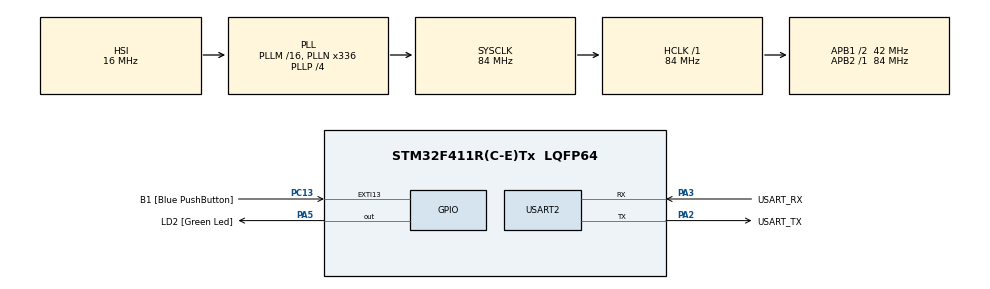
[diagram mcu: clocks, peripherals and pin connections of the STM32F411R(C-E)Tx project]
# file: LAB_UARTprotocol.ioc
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Mcu.Family=STM32F4
PC15-OSC32_OUT.Mode=LSE-External-Oscillator
RCC.CortexFreq_Value=84000000
PC13-ANTI_TAMP.GPIO_Label=B1 [Blue PushButton]
PA14.GPIO_Label=TCK
PH1\ -\ OSC_OUT.Mode=HSE-External-Clock-Source
Dma.USART2_RX.0.Direction=DMA_PERIPH_TO_MEMORY
RCC.APB1CLKDivider=RCC_HCLK_DIV2
PC14-OSC32_IN.Signal=RCC_OSC32_IN
NVIC.USART2_IRQn=true\:0\:0\:false\:false\:true\:true\:true
RCC.SYSCLKSource=RCC_SYSCLKSOURCE_PLLCLK
ProjectManager.StackSize=0x400
Dma.USART2_RX.0.Mode=DMA_CIRCULAR
PA13.Signal=SYS_JTMS-SWDIO
PA3.Mode=Asynchronous
PH0\ -\ OSC_IN.Mode=HSE-External-Clock-Source
PH0\ -\ OSC_IN.Signal=RCC_OSC_IN
ProjectManager.TargetToolchain=STM32CubeIDE
NVIC.DMA1_Stream5_IRQn=true\:0\:0\:false\:false\:true\:false\:true
Dma.USART2_RX.0.Priority=DMA_PRIORITY_LOW
Dma.USART2_RX.0.PeriphDataAlignment=DMA_PDATAALIGN_BYTE
RCC.HCLKFreq_Value=84000000
RCC.APB2TimFreq_Value=84000000
PC15-OSC32_OUT.Signal=RCC_OSC32_OUT
RCC.AHBFreq_Value=84000000
PA5.Signal=GPIO_Output
RCC.HSE_VALUE=8000000
PH1\ -\ OSC_OUT.Signal=RCC_OSC_OUT
board=NUCLEO-F411RE
PC13-ANTI_TAMP.Signal=GPXTI13
RCC.VCOOutputFreq_Value=336000000
RCC.APB2Freq_Value=84000000
Dma.USART2_RX.0.MemDataAlignment=DMA_MDATAALIGN_BYTE
PC14-OSC32_IN.Mode=LSE-External-Oscillator
PA14.Mode=Serial_Wire
Dma.USART2_RX.0.Instance=DMA1_Stream5
PA13.Mode=Serial_Wire
Mcu.Name=STM32F411R(C-E)Tx
Dma.USART2_RX.0.MemInc=DMA_MINC_ENABLE
PA2.Signal=USART2_TX
PA13.GPIO_Label=TMS
RCC.FLatency-AdvancedSettings=FLASH_LATENCY_2
RCC.48MHZClocksFreq_Value=84000000
PB3.Signal=SYS_JTDO-SWO
RCC.SYSCLKFreq_VALUE=84000000
Mcu.Package=LQFP64
PA5.GPIO_Label=LD2 [Green Led]
Dma.USART2_RX.0.PeriphInc=DMA_PINC_DISABLE
USART2.VirtualMode=VM_ASYNC
Dma.USART2_RX.0.FIFOMode=DMA_FIFOMODE_DISABLE
PC13-ANTI_TAMP.GPIO_ModeDefaultEXTI=GPIO_MODE_IT_FALLING
PA2.GPIO_Label=USART_TX
PA14.Signal=SYS_JTCK-SWCLK
ProjectManager.HeapSize=0x200
RCC.HSI_VALUE=16000000
RCC.PLLP=RCC_PLLP_DIV4
NVIC.PriorityGroup=NVIC_PRIORITYGROUP_0
RCC.PLLN=336
RCC.APB1TimFreq_Value=84000000
PA2.Mode=Asynchronous
Dma.Request0=USART2_RX
RCC.APB1Freq_Value=42000000
PA3.GPIO_Label=USART_RX
PA3.Signal=USART2_RX
PB3.GPIO_Label=SWO

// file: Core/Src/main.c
/* USER CODE BEGIN Header */
/**
  ******************************************************************************
  * @file           : main.c
  * @brief          : Main program body
  ******************************************************************************
  * @attention
  *
  * <h2><center>&copy; Copyright (c) 2021 STMicroelectronics.
  * All rights reserved.</center></h2>
  *
  * This software component is licensed by ST under BSD 3-Clause license,
  * the "License"; You may not use this file except in compliance with the
  * License. You may obtain a copy of the License at:
  *                        opensource.org/licenses/BSD-3-Clause
  *
  ******************************************************************************
  */
/* USER CODE END Header */
#include "main.h"

/* USER CODE BEGIN Includes */
#include "stdio.h"
#include "string.h"
/* USER CODE END Includes */

UART_HandleTypeDef huart2;
DMA_HandleTypeDef hdma_usart2_rx;

/* USER CODE BEGIN PV */
uint8_t RxBuffer[255]={0};
uint8_t Posdata=0;
uint8_t Posdatapre=0;
void pim(char q[]);
uint8_t TxDataBuffer[255]={0};
uint8_t state=0;
uint16_t lenght=0;
uint8_t i=0;
uint8_t numberofparameter=0;
uint8_t tempo[255]={0};

uint8_t mainmemory[255]={0};
uint16_t crcReceive=0;

unsigned short update_crc(unsigned short crc_accum, unsigned char *data_blk_ptr,unsigned short data_blk_size);
uint16_t realcrc=0;
uint8_t forcheckcrc[32]={0};

uint8_t lenghtL=0;
uint8_t lenghtH=0;
uint16_t position=0;

/* USER CODE END PV */

void SystemClock_Config(void);
static void MX_GPIO_Init(void);
static void MX_DMA_Init(void);
static void MX_USART2_UART_Init(void);

int main(void)
{

  /* MCU Configuration--------------------------------------------------------*/

  /* Reset of all peripherals, Initializes the Flash interface and the Systick. */
  HAL_Init();

  /* Configure the system clock */
  SystemClock_Config();

  /* Initialize all configured peripherals */
  MX_GPIO_Init();
  MX_DMA_Init();
  MX_USART2_UART_Init();
  /* USER CODE BEGIN 2 */

  HAL_UART_Receive_DMA(&huart2, RxBuffer, 32);
  /* USER CODE END 2 */

  /* Infinite loop */
  /* USER CODE BEGIN WHILE */
  while (1)
  {
	  Posdata=huart2.RxXferSize-huart2.hdmarx->Instance->NDTR;
	  if(Posdata!=Posdatapre ){
//		  sprintf(TxDataBuffer, "\r\nReceivedChar:[%c]", RxBuffer[Posdatapre] );
//		  HAL_UART_Transmit(&huart2, (uint8_t*)TxDataBuffer, strlen(TxDataBuffer),500);
		  switch(state){
			  case 0:
				  if(RxBuffer[Posdatapre]==0xFF){
					  i=0;
					  state=1;
				  }else{
					  state=0;
				  }
			  break;
			  case 1:
				  if(RxBuffer[Posdatapre]==0xFF){
					  state=2;
				  }else{
					  state=0;
				  }
			  break;
			  case 2:
				  if(RxBuffer[Posdatapre]==0xFD){
					  state=3;
				  }else{
					  state=0;
				  }
			  break;
			  case 3:
				  if(RxBuffer[Posdatapre]==0x00){
					  state=4;
				  }else{
					  state=0;
				  }
			  break;
			  case 4://check motor id
				  if(RxBuffer[Posdatapre]==0x01){
					  state=5;
				  }else{
					  state=0;
				  }
			  break;
			  case 5://lenght Land H
				  i=i+1;
				  if(i==1){
					  lenght=RxBuffer[Posdatapre];
					  lenghtL=RxBuffer[Posdatapre];
					  state=5;
				  }else if(i==2){
					  lenghtH=RxBuffer[Posdatapre];
					  lenght=lenght |  RxBuffer[Posdatapre]<<8;
					  numberofparameter=lenght-3;
					  i=0;
					  state=6;
				  }
			  break;
			  case 6://instuction
				  if(RxBuffer[Posdatapre]==0x03){
					  state=7;
				  }else{
					  state=0;
				  }
			  break;
			  case 7:
				  numberofparameter=numberofparameter-1;
				  tempo[i]=RxBuffer[Posdatapre];
				  i=i+1;
				  if(numberofparameter==0){
					  i=0;
					  state=8;
				  }
			  break;
			  case 8://savecrc L and H
				  i=i+1;
				  if(i==1){
					  crcReceive=RxBuffer[Posdatapre];
					  state=8;
				  }else if(i==2){
					  crcReceive=crcReceive |  RxBuffer[Posdatapre]<<8;
					  forcheckcrc[0]=0xFF;
					  forcheckcrc[1]=0xFF;
					  forcheckcrc[2]=0xFD;
					  forcheckcrc[3]=0x00;
					  forcheckcrc[4]=0x01;
					  forcheckcrc[5]=lenghtL;
					  forcheckcrc[6]=lenghtH;
					  forcheckcrc[7]=0x03;
					  i=8;
					  for( int p=0; p<(lenght-3);p++){
						  forcheckcrc[i]=tempo[p];
						  i=i+1;
					  }
					  realcrc=update_crc(0, &forcheckcrc[0], (7+lenght-2));
					  if(realcrc==crcReceive){
						  position=tempo[0];
						  position=position | tempo[1]<<8;
						  for(int p=0;p<(lenght-3-2);p++){
							  mainmemory[(position+p)%255]=tempo[2+p];
						  }

						  state=0;
					  }else{
						  state=0;
					  }

				  }
			  break;

		  }

		  Posdatapre=(Posdatapre+1)%32;
	  }

    /* USER CODE END WHILE */

  }
}

void SystemClock_Config(void)
{
  RCC_OscInitTypeDef RCC_OscInitStruct = {0};
  RCC_ClkInitTypeDef RCC_ClkInitStruct = {0};

  /** Configure the main internal regulator output voltage
  */
  __HAL_RCC_PWR_CLK_ENABLE();
  __HAL_PWR_VOLTAGESCALING_CONFIG(PWR_REGULATOR_VOLTAGE_SCALE1);
  /** Initializes the RCC Oscillators according to the specified parameters
  * in the RCC_OscInitTypeDef structure.
  */
  RCC_OscInitStruct.OscillatorType = RCC_OSCILLATORTYPE_HSI;
  RCC_OscInitStruct.HSIState = RCC_HSI_ON;
  RCC_OscInitStruct.HSICalibrationValue = RCC_HSICALIBRATION_DEFAULT;
  RCC_OscInitStruct.PLL.PLLState = RCC_PLL_ON;
  RCC_OscInitStruct.PLL.PLLSource = RCC_PLLSOURCE_HSI;
  RCC_OscInitStruct.PLL.PLLM = 16;
  RCC_OscInitStruct.PLL.PLLN = 336;
  RCC_OscInitStruct.PLL.PLLP = RCC_PLLP_DIV4;
  RCC_OscInitStruct.PLL.PLLQ = 4;
  if (HAL_RCC_OscConfig(&RCC_OscInitStruct) != HAL_OK)
  {
    Error_Handler();
  }
  /** Initializes the CPU, AHB and APB buses clocks
  */
  RCC_ClkInitStruct.ClockType = RCC_CLOCKTYPE_HCLK|RCC_CLOCKTYPE_SYSCLK
                              |RCC_CLOCKTYPE_PCLK1|RCC_CLOCKTYPE_PCLK2;
  RCC_ClkInitStruct.SYSCLKSource = RCC_SYSCLKSOURCE_PLLCLK;
  RCC_ClkInitStruct.AHBCLKDivider = RCC_SYSCLK_DIV1;
  RCC_ClkInitStruct.APB1CLKDivider = RCC_HCLK_DIV2;
  RCC_ClkInitStruct.APB2CLKDivider = RCC_HCLK_DIV1;

  if (HAL_RCC_ClockConfig(&RCC_ClkInitStruct, FLASH_LATENCY_2) != HAL_OK)
  {
    Error_Handler();
  }
}

static void MX_USART2_UART_Init(void)
{

  huart2.Instance = USART2;
  huart2.Init.BaudRate = 115200;
  huart2.Init.WordLength = UART_WORDLENGTH_8B;
  huart2.Init.StopBits = UART_STOPBITS_1;
  huart2.Init.Parity = UART_PARITY_NONE;
  huart2.Init.Mode = UART_MODE_TX_RX;
  huart2.Init.HwFlowCtl = UART_HWCONTROL_NONE;
  huart2.Init.OverSampling = UART_OVERSAMPLING_16;
  if (HAL_UART_Init(&huart2) != HAL_OK)
  {
    Error_Handler();
  }

}

static void MX_DMA_Init(void)
{

  /* DMA controller clock enable */
  __HAL_RCC_DMA1_CLK_ENABLE();

  /* DMA interrupt init */
  /* DMA1_Stream5_IRQn interrupt configuration */
  HAL_NVIC_SetPriority(DMA1_Stream5_IRQn, 0, 0);
  HAL_NVIC_EnableIRQ(DMA1_Stream5_IRQn);

}

static void MX_GPIO_Init(void)
{
  GPIO_InitTypeDef GPIO_InitStruct = {0};

  /* GPIO Ports Clock Enable */
  __HAL_RCC_GPIOC_CLK_ENABLE();
  __HAL_RCC_GPIOH_CLK_ENABLE();
  __HAL_RCC_GPIOA_CLK_ENABLE();
  __HAL_RCC_GPIOB_CLK_ENABLE();

  /*Configure GPIO pin Output Level */
  HAL_GPIO_WritePin(LD2_GPIO_Port, LD2_Pin, GPIO_PIN_RESET);

  /*Configure GPIO pin : B1_Pin */
  GPIO_InitStruct.Pin = B1_Pin;
  GPIO_InitStruct.Mode = GPIO_MODE_IT_FALLING;
  GPIO_InitStruct.Pull = GPIO_NOPULL;
  HAL_GPIO_Init(B1_GPIO_Port, &GPIO_InitStruct);

  /*Configure GPIO pin : LD2_Pin */
  GPIO_InitStruct.Pin = LD2_Pin;
  GPIO_InitStruct.Mode = GPIO_MODE_OUTPUT_PP;
  GPIO_InitStruct.Pull = GPIO_NOPULL;
  GPIO_InitStruct.Speed = GPIO_SPEED_FREQ_LOW;
  HAL_GPIO_Init(LD2_GPIO_Port, &GPIO_InitStruct);

}

/* USER CODE BEGIN 4 */
void pim(char q[]){

	HAL_UART_Transmit(&huart2, (uint8_t*)q, strlen(q),1000);
}

unsigned short update_crc(unsigned short crc_accum, unsigned char *data_blk_ptr,unsigned short data_blk_size)
{
	unsigned short i, j;
	unsigned short crc_table[256] =
	{ 0x0000, 0x8005, 0x800F, 0x000A, 0x801B, 0x001E, 0x0014, 0x8011, 0x8033,
			0x0036, 0x003C, 0x8039, 0x0028, 0x802D, 0x8027, 0x0022, 0x8063,
			0x0066, 0x006C, 0x8069, 0x0078, 0x807D, 0x8077, 0x0072, 0x0050,
			0x8055, 0x805F, 0x005A, 0x804B, 0x004E, 0x0044, 0x8041, 0x80C3,
			0x00C6, 0x00CC, 0x80C9, 0x00D8, 0x80DD, 0x80D7, 0x00D2, 0x00F0,
			0x80F5, 0x80FF, 0x00FA, 0x80EB, 0x00EE, 0x00E4, 0x80E1, 0x00A0,
			0x80A5, 0x80AF, 0x00AA, 0x80BB, 0x00BE, 0x00B4, 0x80B1, 0x8093,
			0x0096, 0x009C, 0x8099, 0x0088, 0x808D, 0x8087, 0x0082, 0x8183,
			0x0186, 0x018C, 0x8189, 0x0198, 0x819D, 0x8197, 0x0192, 0x01B0,
			0x81B5, 0x81BF, 0x01BA, 0x81AB, 0x01AE, 0x01A4, 0x81A1, 0x01E0,
			0x81E5, 0x81EF, 0x01EA, 0x81FB, 0x01FE, 0x01F4, 0x81F1, 0x81D3,
			0x01D6, 0x01DC, 0x81D9, 0x01C8, 0x81CD, 0x81C7, 0x01C2, 0x0140,
			0x8145, 0x814F, 0x014A, 0x815B, 0x015E, 0x0154, 0x8151, 0x8173,
			0x0176, 0x017C, 0x8179, 0x0168, 0x816D, 0x8167, 0x0162, 0x8123,
			0x0126, 0x012C, 0x8129, 0x0138, 0x813D, 0x8137, 0x0132, 0x0110,
			0x8115, 0x811F, 0x011A, 0x810B, 0x010E, 0x0104, 0x8101, 0x8303,
			0x0306, 0x030C, 0x8309, 0x0318, 0x831D, 0x8317, 0x0312, 0x0330,
			0x8335, 0x833F, 0x033A, 0x832B, 0x032E, 0x0324, 0x8321, 0x0360,
			0x8365, 0x836F, 0x036A, 0x837B, 0x037E, 0x0374, 0x8371, 0x8353,
			0x0356, 0x035C, 0x8359, 0x0348, 0x834D, 0x8347, 0x0342, 0x03C0,
			0x83C5, 0x83CF, 0x03CA, 0x83DB, 0x03DE, 0x03D4, 0x83D1, 0x83F3,
			0x03F6, 0x03FC, 0x83F9, 0x03E8, 0x83ED, 0x83E7, 0x03E2, 0x83A3,
			0x03A6, 0x03AC, 0x83A9, 0x03B8, 0x83BD, 0x83B7, 0x03B2, 0x0390,
			0x8395, 0x839F, 0x039A, 0x838B, 0x038E, 0x0384, 0x8381, 0x0280,
			0x8285, 0x828F, 0x028A, 0x829B, 0x029E, 0x0294, 0x8291, 0x82B3,
			0x02B6, 0x02BC, 0x82B9, 0x02A8, 0x82AD, 0x82A7, 0x02A2, 0x82E3,
			0x02E6, 0x02EC, 0x82E9, 0x02F8, 0x82FD, 0x82F7, 0x02F2, 0x02D0,
			0x82D5, 0x82DF, 0x02DA, 0x82CB, 0x02CE, 0x02C4, 0x82C1, 0x8243,
			0x0246, 0x024C, 0x8249, 0x0258, 0x825D, 0x8257, 0x0252, 0x0270,
			0x8275, 0x827F, 0x027A, 0x826B, 0x026E, 0x0264, 0x8261, 0x0220,
			0x8225, 0x822F, 0x022A, 0x823B, 0x023E, 0x0234, 0x8231, 0x8213,
			0x0216, 0x021C, 0x8219, 0x0208, 0x820D, 0x8207, 0x0202 };

	for (j = 0; j < data_blk_size; j++)
	{
		i = ((unsigned short) (crc_accum >> 8) ^ data_blk_ptr[j]) & 0xFF;
		crc_accum = (crc_accum << 8) ^ crc_table[i];
	}

	return crc_accum;
}
/* USER CODE END 4 */

void Error_Handler(void)
{
  __disable_irq();
  while (1)
  {
  }
}

/************************ (C) COPYRIGHT STMicroelectronics *****END OF FILE****/
